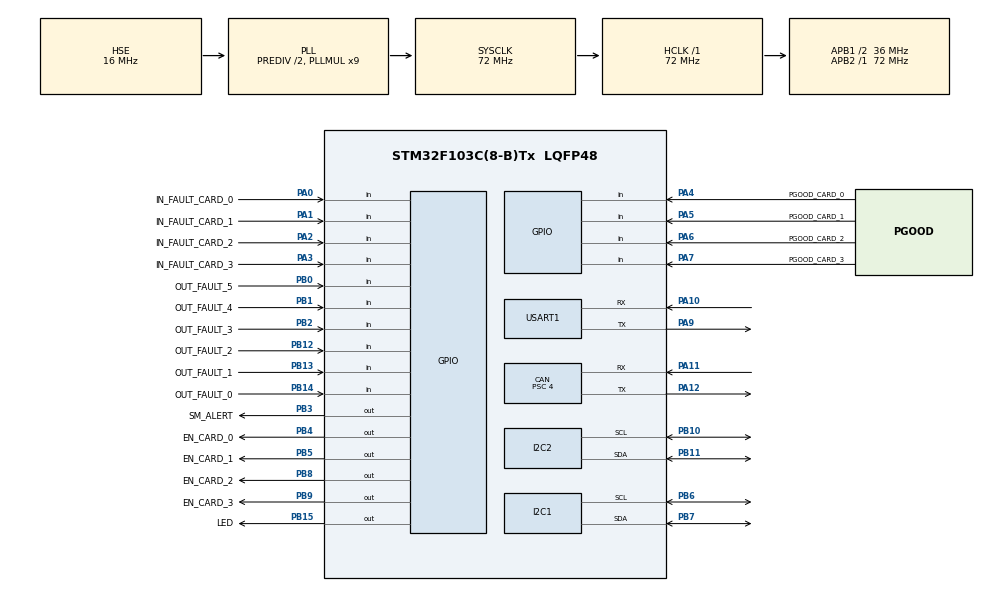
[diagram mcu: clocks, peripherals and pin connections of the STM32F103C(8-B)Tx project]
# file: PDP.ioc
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CAN.BS1=CAN_BS1_15TQ
CAN.BS2=CAN_BS2_2TQ
CAN.CalculateBaudRate=500000
CAN.CalculateTimeBit=2000
CAN.CalculateTimeQuantum=111.11111111111111
CAN.NART=ENABLE
CAN.Prescaler=4
CAN.SJW=CAN_SJW_2TQ
FREERTOS.Tasks01=defaultTask,24,128,StartDefaultTask,Default,NULL,Dynamic,NULL,NULL
FREERTOS.configUSE_NEWLIB_REENTRANT=1
Mcu.Family=STM32F1
Mcu.Name=STM32F103C(8-B)Tx
Mcu.Package=LQFP48
NVIC.PriorityGroup=NVIC_PRIORITYGROUP_4
NVIC.TIM2_IRQn=true\:15\:0\:false\:false\:true\:false\:false\:true\:true
NVIC.TimeBase=TIM2_IRQn
NVIC.TimeBaseIP=TIM2
NVIC.USB_HP_CAN1_TX_IRQn=true\:5\:0\:false\:false\:true\:true\:true\:true\:true
NVIC.USB_LP_CAN1_RX0_IRQn=true\:5\:0\:false\:false\:true\:true\:true\:true\:true
PA0-WKUP.GPIO_Label=IN_FAULT_CARD_0
PA0-WKUP.Signal=GPIO_Input
PA1.GPIO_Label=IN_FAULT_CARD_1
PA1.Signal=GPIO_Input
PA10.Mode=Asynchronous
PA10.Signal=USART1_RX
PA11.Mode=CAN_Activate
PA11.Signal=CAN_RX
PA12.Mode=CAN_Activate
PA12.Signal=CAN_TX
PA13.Mode=Serial_Wire
PA13.Signal=SYS_JTMS-SWDIO
PA14.Mode=Serial_Wire
PA14.Signal=SYS_JTCK-SWCLK
PA2.GPIO_Label=IN_FAULT_CARD_2
PA2.Signal=GPIO_Input
PA3.GPIO_Label=IN_FAULT_CARD_3
PA3.Signal=GPIO_Input
PA4.GPIO_Label=PGOOD_CARD_0
PA4.Signal=GPIO_Input
PA5.GPIO_Label=PGOOD_CARD_1
PA5.Signal=GPIO_Input
PA6.GPIO_Label=PGOOD_CARD_2
PA6.Signal=GPIO_Input
PA7.GPIO_Label=PGOOD_CARD_3
PA7.Signal=GPIO_Input
PA9.Mode=Asynchronous
PA9.Signal=USART1_TX
PB0.GPIO_Label=OUT_FAULT_5
PB0.Signal=GPIO_Input
PB1.GPIO_Label=OUT_FAULT_4
PB1.Signal=GPIO_Input
PB10.Mode=I2C
PB10.Signal=I2C2_SCL
PB11.Mode=I2C
PB11.Signal=I2C2_SDA
PB12.GPIO_Label=OUT_FAULT_2
PB12.Signal=GPIO_Input
PB13.GPIO_Label=OUT_FAULT_1
PB13.Signal=GPIO_Input
PB14.GPIO_Label=OUT_FAULT_0
PB14.Signal=GPIO_Input
PB15.GPIO_Label=LED
PB15.Signal=GPIO_Output
PB2.GPIO_Label=OUT_FAULT_3
PB2.Signal=GPIO_Input
PB3.GPIO_Label=SM_ALERT
PB3.Signal=GPIO_Output
PB4.GPIO_Label=EN_CARD_0
PB4.Signal=GPIO_Output
PB5.GPIO_Label=EN_CARD_1
PB5.Signal=GPIO_Output
PB6.Mode=I2C
PB6.Signal=I2C1_SCL
PB7.Mode=I2C
PB7.Signal=I2C1_SDA
PB8.GPIO_Label=EN_CARD_2
PB8.Signal=GPIO_Output
PB9.GPIO_Label=EN_CARD_3
PB9.Signal=GPIO_Output
PD0-OSC_IN.Mode=HSE-External-Oscillator
PD0-OSC_IN.Signal=RCC_OSC_IN
PD1-OSC_OUT.Mode=HSE-External-Oscillator
PD1-OSC_OUT.Signal=RCC_OSC_OUT
ProjectManager.HeapSize=0x200
ProjectManager.StackSize=0x400
ProjectManager.TargetToolchain=STM32CubeIDE
RCC.AHBFreq_Value=72000000
RCC.APB1CLKDivider=RCC_HCLK_DIV2
RCC.APB1Freq_Value=36000000
RCC.APB1TimFreq_Value=72000000
RCC.APB2Freq_Value=72000000
RCC.APB2TimFreq_Value=72000000
RCC.HCLKFreq_Value=72000000
RCC.HSEDivPLL=RCC_HSE_PREDIV_DIV2
RCC.HSE_VALUE=16000000
RCC.PLLMUL=RCC_PLL_MUL9
RCC.PLLSourceVirtual=RCC_PLLSOURCE_HSE
RCC.SYSCLKFreq_VALUE=72000000
RCC.SYSCLKSource=RCC_SYSCLKSOURCE_PLLCLK
RCC.USBFreq_Value=72000000
USART1.VirtualMode=VM_ASYNC
VP_FREERTOS_VS_CMSIS_V2.Mode=CMSIS_V2
VP_SYS_VS_tim2.Mode=TIM2
board=custom

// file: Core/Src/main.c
/* USER CODE BEGIN Header */
/**
 ******************************************************************************
 * @file           : main.c
 * @brief          : Main program body
 ******************************************************************************
 * @attention
 *
 * Copyright (c) 2024 STMicroelectronics.
 * All rights reserved.
 *
 * This software is licensed under terms that can be found in the LICENSE file
 * in the root directory of this software component.
 * If no LICENSE file comes with this software, it is provided AS-IS.
 *
 ******************************************************************************
 */
/* USER CODE END Header */
#include "main.h"
#include "cmsis_os.h"
#include "can.h"
#include "i2c.h"
#include "usart.h"
#include "gpio.h"

/* USER CODE BEGIN Includes */

#include "at24c04c.h"
#include "queue.h"
#include "enc_dec_utils.h"
#include "ina238.h"
#include "tca.h"
#include "tmp.h"
#include "viper_mcp3221.h"

/* USER CODE END Includes */

/* USER CODE BEGIN PD */
#define VIPER_PARAMS_EEPROM_PAGE 0

/* USER CODE END PD */

/* USER CODE BEGIN PV */

VIPER_STATE_TypeDef viper_state;
VIPER_PARAMS_TypeDef viper_params;

uint8_t ESTOP = 0;
uint8_t FREEZE = 0;

uint8_t read_complete = 0;
uint8_t send_complete = 0;

/* USER CODE END PV */

void SystemClock_Config(void);
void MX_FREERTOS_Init(void);

int main(void)
{

  /* USER CODE BEGIN 1 */

	// ##############
	// todo: SET DEFAULT VIPER PARAMS HERE
	viper_params.VIPER_ID = 0x01;
	viper_params.HEALTH_INTERVAL = 1000; //every second
	viper_params.CARD_INTERVAL = 1000; // may need to tune this

	viper_state.STATE = VIPER_STATE_ACTIVE;

	// ###############

  /* USER CODE END 1 */

  /* MCU Configuration--------------------------------------------------------*/

  /* Reset of all peripherals, Initializes the Flash interface and the Systick. */
  HAL_Init();

  /* Configure the system clock */
  SystemClock_Config();

  /* Initialize all configured peripherals */
  MX_GPIO_Init();
  MX_CAN_Init();
  MX_I2C1_Init();
  MX_I2C2_Init();
  MX_USART1_UART_Init();
  /* USER CODE BEGIN 2 */

	// ##############
	// SET DRIVER INITIALIZATIONS HERE

	MX_AT24C04C_1_Init();
	MX_TMP_1075_Init();
	MX_TMP_100_Init();
	MX_MCP_3221_Init();
	MX_INA_238_Init();
	MX_TCA_Init();

	// ###############
	// MAIN INIT and BROADCAST HEALTH MESSAGE
	VIPER_Card_Init(&viper_state, &viper_params);
	MX_CAN_Broadcast_Health_Message(&viper_can, &viper_state);
	// ###############

	TCA9544A_SelectChannel(&tca, VIPER_CARD_0);

	INA_238_WriteConfig(&ina238_low_power_a);
    INA_238_WriteConfig(&ina238_low_power_b);

	TMP_1075_SetHighLimit(&h_tmp_1075);
    TMP_1075_SetLowLimit(&h_tmp_1075);
    TMP_1075_SetConfRegisters(&h_tmp_1075);

	TMP_100_SetHighLimit(&h_tmp_100_a);
    TMP_100_SetLowLimit(&h_tmp_100_a);
    TMP_100_SetConfRegisters(&h_tmp_100_a);

    TMP_100_SetHighLimit(&h_tmp_100_b);
    TMP_100_SetLowLimit(&h_tmp_100_b);
    TMP_100_SetConfRegisters(&h_tmp_100_b);

	TCA9544A_SelectChannel(&tca, VIPER_CARD_1);

	INA_238_WriteConfig(&ina238_high_power);

	TMP_1075_SetHighLimit(&h_tmp_1075);
    TMP_1075_SetLowLimit(&h_tmp_1075);
    TMP_1075_SetConfRegisters(&h_tmp_1075);

	TMP_100_SetHighLimit(&h_tmp_100_a);
    TMP_100_SetLowLimit(&h_tmp_100_a);
    TMP_100_SetConfRegisters(&h_tmp_100_a);

    TMP_100_SetHighLimit(&h_tmp_100_b);
    TMP_100_SetLowLimit(&h_tmp_100_b);
    TMP_100_SetConfRegisters(&h_tmp_100_b);

	TCA9544A_SelectChannel(&tca, VIPER_CARD_2);

	INA_238_WriteConfig(&ina238_high_power);

	TMP_1075_SetHighLimit(&h_tmp_1075);
    TMP_1075_SetLowLimit(&h_tmp_1075);
    TMP_1075_SetConfRegisters(&h_tmp_1075);

	TMP_100_SetHighLimit(&h_tmp_100_a);
    TMP_100_SetLowLimit(&h_tmp_100_a);
    TMP_100_SetConfRegisters(&h_tmp_100_a);

//    TMP_100_SetHighLimit(&h_tmp_100_b);
//    TMP_100_SetLowLimit(&h_tmp_100_b);
//    TMP_100_SetConfRegisters(&h_tmp_100_b);

	//NO CARD 3 at the moment!
	// TCA9544A_SelectChannel(&tca, VIPER_CARD_3);

	// INA_238_WriteConfig(&ina238_low_power_a);
    // INA_238_WriteConfig(&ina238_low_power_b);

	// TMP_1075_SetHighLimit(&h_tmp_1075);
    // TMP_1075_SetLowLimit(&h_tmp_1075);
    // TMP_1075_SetConfRegisters(&h_tmp_1075);

	// TMP_100_SetHighLimit(&h_tmp_100_a);
    // TMP_100_SetLowLimit(&h_tmp_100_a);
    // TMP_100_SetConfRegisters(&h_tmp_100_a);

    // TMP_100_SetHighLimit(&h_tmp_100_b);
    // TMP_100_SetLowLimit(&h_tmp_100_b);
    // TMP_100_SetConfRegisters(&h_tmp_100_b);

	TCA9544A_SelectChannel(&tca, VIPER_CARD_0);

	// osKernalStart() hands over execution to the RTOS kernel, so everything after that line is not executed
	// Comment the line to run the original VIPER code.

  /* USER CODE END 2 */

  /* Init scheduler */
  osKernelInitialize();

  /* Call init function for freertos objects (in cmsis_os2.c) */
  MX_FREERTOS_Init();

  /* Start scheduler */
  osKernelStart();

  /* We should never get here as control is now taken by the scheduler */

  /* Infinite loop */
  /* USER CODE BEGIN WHILE */

	// ESTOP --> DISABLE --> FREEZE -> ACTIVE

	while (1) {

		VIPER_Card_Check(&viper_state);

		if (!queue_empty(&can_message_queue_global)) {
			VIPER_CAN_Message_TypeDef *new_message =
					(VIPER_CAN_Message_TypeDef*) queue_front(
							&can_message_queue_global);

			switch ((int) (new_message->command_id)) {
			case ESTOP_MESSAGE: {
				ESTOP = 1;
				break;
			}
			case DISABLE_MESSAGE: {
				viper_state.STATE = VIPER_STATE_INACTIVE;
				break;
			}
			case ENABLE_MESSAGE: {
				viper_state.STATE = VIPER_STATE_ACTIVE;
				break;
			}
			case HEALTH_STATUS_PING: {
				MX_CAN_Broadcast_Health_Message(&viper_can, &viper_state);
				break;
			}
			default: {
				break;
			}
			}

			free(new_message->data);
			queue_dequeue(&can_message_queue_global);
		}

		//Only check viper queue after. This allows global messages to be addressed immediately
		else if (!queue_empty(&can_message_queue_viper)) {
			VIPER_CAN_Message_TypeDef *new_message =
					(VIPER_CAN_Message_TypeDef*) queue_front(
							&can_message_queue_viper);

			switch ((int) (new_message->command_id)) {
			case DISABLE_CARD: {
				switch (new_message->card_id){
				case VIPER_CARD_0: {
					viper_state.CARD_0.ENABLE = 0;
					break;
				}
				case VIPER_CARD_1: {
					viper_state.CARD_1.ENABLE = 0;
					break;
				}
				case VIPER_CARD_2: {
					viper_state.CARD_2.ENABLE = 0;
					break;
				}
				case VIPER_CARD_3: {
					viper_state.CARD_3.ENABLE = 0;
					break;
				}
				default:
					break;
				}
				break;
			}
			case DISABLE_ALL_CARDS: {
				viper_state.CARD_0.ENABLE = 0;
				viper_state.CARD_1.ENABLE = 0;
				viper_state.CARD_2.ENABLE = 0;
				viper_state.CARD_3.ENABLE = 0;
				break;
			}
			case ENABLE_CARD: {
				switch (new_message->card_id){
				case VIPER_CARD_0: {
					viper_state.CARD_0.ENABLE = 1;
					break;
				}
				case VIPER_CARD_1: {
					viper_state.CARD_1.ENABLE = 1;
					break;
				}
				case VIPER_CARD_2: {
					viper_state.CARD_2.ENABLE = 1;
					break;
				}
				case VIPER_CARD_3: {
					viper_state.CARD_3.ENABLE = 1;
					break;
				}
				default:
					break;
				}
				break;
			}
			case ENABLE_ALL_CARDS: {
				viper_state.CARD_0.ENABLE = 1;
				viper_state.CARD_1.ENABLE = 1;
				viper_state.CARD_2.ENABLE = 1;
				viper_state.CARD_3.ENABLE = 1;
				break;
			}
			case GET_CARD_DATA: {
				MX_CAN_Broadcast_Card_Data(&viper_can, &viper_state, new_message->card_id);
				break;
			}
			case GET_ALL_CARD_DATA: {
				MX_CAN_Broadcast_Card_Data(&viper_can, &viper_state, VIPER_CARD_0);
				MX_CAN_Broadcast_Card_Data(&viper_can, &viper_state, VIPER_CARD_1);
				MX_CAN_Broadcast_Card_Data(&viper_can, &viper_state, VIPER_CARD_2);
				MX_CAN_Broadcast_Card_Data(&viper_can, &viper_state, VIPER_CARD_3);
				break;
			}
			case SET_MUX_VALUE: {
				TCA9544A_SelectChannel(&tca, new_message->card_id);
				viper_state.CURRENT_CARD = new_message->card_id;
				break;
			}
			case SAVE_TO_EEPROM: {
				AT24C04C_WritePages(&at24c04c_1, (uint8_t*) &viper_params, sizeof(VIPER_PARAMS_TypeDef), VIPER_PARAMS_EEPROM_PAGE);
				break;
			}
			case SET_FREEZE: {
				FREEZE = 1;
				break;
			}
			case STOP_FREEZE: {
				FREEZE = 0;
				break;
			}
			// GETTERS / SETTERS
			case GET_HEALTH_INTERVAL: {
				MX_CAN_Broadcast_Uint32_Data(&viper_can, viper_params.HEALTH_INTERVAL, GET_HEALTH_INTERVAL, 0);
				break;
			}
			case SET_HEALTH_INTERVAL: {
				viper_params.HEALTH_INTERVAL = decode_uint32_big_endian(new_message->data);
				break;
			}
			case GET_CARD_INTERVAL: {
				MX_CAN_Broadcast_Uint32_Data(&viper_can, viper_params.CARD_INTERVAL, GET_CARD_INTERVAL, 0);
				break;
			}
			case SET_CARD_INTERVAL: {
				viper_params.CARD_INTERVAL = decode_uint32_big_endian(new_message->data);
				break;
			}
			default:
				break;
			}
			free(new_message->data);
			queue_dequeue(&can_message_queue_viper);
		}

		 VIPER_Card_Update_State(&viper_state);
		// VIPER_Card_Update_Params(&viper_state, &viper_params);

		if (ESTOP) {
			HAL_GPIO_WritePin(LED_GPIO_Port, LED_Pin, GPIO_PIN_SET);
			break;
		}

		// MAIN STATE MACHINE START
		switch (viper_state.STATE) {
		case VIPER_STATE_INACTIVE: {
			HAL_GPIO_WritePin(LED_GPIO_Port, LED_Pin, GPIO_PIN_SET);
			break;
		}
		case VIPER_STATE_ACTIVE: {
			HAL_GPIO_WritePin(LED_GPIO_Port, LED_Pin, GPIO_PIN_RESET);

			if ((viper_params.CARD_INTERVAL != 0) && (HAL_GetTick() % viper_params.CARD_INTERVAL == 0)) {

				if (!FREEZE) {
					if (viper_state.CURRENT_CARD == VIPER_CARD_3) {
						viper_state.CURRENT_CARD = VIPER_CARD_0;
					} else {
						viper_state.CURRENT_CARD++;
					}
				}

				read_complete = 0;
				send_complete = 0;
			}

			if (!read_complete)
			{
				if((viper_state.CURRENT_CARD == VIPER_CARD_0 && viper_state.CARD_0.ENABLE)
				|| (viper_state.CURRENT_CARD == VIPER_CARD_1 && viper_state.CARD_1.ENABLE)
				|| (viper_state.CURRENT_CARD == VIPER_CARD_2 && viper_state.CARD_2.ENABLE)
				|| (viper_state.CURRENT_CARD == VIPER_CARD_3 && viper_state.CARD_3.ENABLE))
				{
					VIPER_Card_Read(&viper_state, viper_state.CURRENT_CARD);
				}
				read_complete = 1;
			}
			break;
		}
		default:
			break;
		}

		// SCHEDULED TASKS
		// if ((viper_params.CARD_INTERVAL != 0) && (HAL_GetTick() % viper_params.CARD_INTERVAL == 0)) {
		// 	MX_CAN_Broadcast_Card_Data(&viper_can, &viper_state, viper_state.CURRENT_CARD);
		// }

		if (read_complete && !send_complete)
		{
			MX_CAN_Broadcast_Card_Data(&viper_can, &viper_state, viper_state.CURRENT_CARD);
			send_complete = 1;
		}

		//Poll and Publish CAN

		MX_CAN_PollToEmptyQueue();

//		 if ((viper_params.HEALTH_INTERVAL != 0)
//		 		&& (HAL_GetTick() % viper_params.HEALTH_INTERVAL == 0)) {
//		 	MX_CAN_Broadcast_Health_Message(&viper_can, &viper_state);
//		 }

		// MAIN STATE MACHINE END

    /* USER CODE END WHILE */

	}
}

void SystemClock_Config(void)
{
  RCC_OscInitTypeDef RCC_OscInitStruct = {0};
  RCC_ClkInitTypeDef RCC_ClkInitStruct = {0};

  /** Initializes the RCC Oscillators according to the specified parameters
  * in the RCC_OscInitTypeDef structure.
  */
  RCC_OscInitStruct.OscillatorType = RCC_OSCILLATORTYPE_HSE;
  RCC_OscInitStruct.HSEState = RCC_HSE_ON;
  RCC_OscInitStruct.HSEPredivValue = RCC_HSE_PREDIV_DIV2;
  RCC_OscInitStruct.HSIState = RCC_HSI_ON;
  RCC_OscInitStruct.PLL.PLLState = RCC_PLL_ON;
  RCC_OscInitStruct.PLL.PLLSource = RCC_PLLSOURCE_HSE;
  RCC_OscInitStruct.PLL.PLLMUL = RCC_PLL_MUL9;
  if (HAL_RCC_OscConfig(&RCC_OscInitStruct) != HAL_OK)
  {
    Error_Handler();
  }

  /** Initializes the CPU, AHB and APB buses clocks
  */
  RCC_ClkInitStruct.ClockType = RCC_CLOCKTYPE_HCLK|RCC_CLOCKTYPE_SYSCLK
                              |RCC_CLOCKTYPE_PCLK1|RCC_CLOCKTYPE_PCLK2;
  RCC_ClkInitStruct.SYSCLKSource = RCC_SYSCLKSOURCE_PLLCLK;
  RCC_ClkInitStruct.AHBCLKDivider = RCC_SYSCLK_DIV1;
  RCC_ClkInitStruct.APB1CLKDivider = RCC_HCLK_DIV2;
  RCC_ClkInitStruct.APB2CLKDivider = RCC_HCLK_DIV1;

  if (HAL_RCC_ClockConfig(&RCC_ClkInitStruct, FLASH_LATENCY_2) != HAL_OK)
  {
    Error_Handler();
  }
}

/* USER CODE BEGIN 4 */

void VIPER_Card_Init(VIPER_STATE_TypeDef *viper_state, VIPER_PARAMS_TypeDef *viper_params) {
	// Step 1: initialize viper_params (from EEPROM)
	AT24C04C_ReadPages(&at24c04c_1, (uint8_t*) viper_params, sizeof(VIPER_PARAMS_TypeDef), VIPER_PARAMS_EEPROM_PAGE);

	// Step 2: set any relevant fields in viper_state from viper_params
//	viper_state->CARD_0.ENABLE = viper_params->CARD_0.ENABLE;
	viper_state->CARD_0.ENABLE = 1; //Card zero is the jetson - ignore any eeprom for it, as it must always be on

	viper_state->CARD_1.ENABLE = viper_params->CARD_1.ENABLE;
	viper_state->CARD_2.ENABLE = viper_params->CARD_2.ENABLE;
	viper_state->CARD_3.ENABLE = viper_params->CARD_3.ENABLE;

	// Step 3: Setup VIPER
	VIPER_Card_Update_State(viper_state);
}

void VIPER_Card_Check(VIPER_STATE_TypeDef *viper_state) {
	uint8_t c0 = viper_state->CARD_0.ENABLE;
	uint8_t c1 = viper_state->CARD_1.ENABLE;
	uint8_t c2 = viper_state->CARD_2.ENABLE;
	uint8_t c3 = viper_state->CARD_3.ENABLE;

	uint8_t pgood[4] = {0};
	uint8_t infault[4] = {0};
	uint8_t outfault[6] = {0};

	if (c0) {
		pgood[0] = (uint8_t) HAL_GPIO_ReadPin(PGOOD_CARD_0_GPIO_Port,
					PGOOD_CARD_0_Pin); // CARD 0
		infault[0] = (uint8_t) HAL_GPIO_ReadPin(IN_FAULT_CARD_0_GPIO_Port,
					IN_FAULT_CARD_0_Pin); // CARD 0
		outfault[0] = (uint8_t) HAL_GPIO_ReadPin(OUT_FAULT_0_GPIO_Port,
					OUT_FAULT_0_Pin); // CARD 0 : LP
		outfault[1] = (uint8_t) HAL_GPIO_ReadPin(OUT_FAULT_1_GPIO_Port,
					OUT_FAULT_1_Pin); // CARD 0 : LP
		viper_state->CARD_0.CONNECTED = pgood[0];
		viper_state->CARD_0.INPUT_FAULT = !infault[0];
		viper_state->CARD_0.OUTPUT_FAULT_A = outfault[0];
		viper_state->CARD_0.OUTPUT_FAULT_B = outfault[1];
	}

	if (c1) {
		pgood[1] = (uint8_t) HAL_GPIO_ReadPin(PGOOD_CARD_1_GPIO_Port,
					PGOOD_CARD_1_Pin); // CARD 1
		infault[1] = (uint8_t) HAL_GPIO_ReadPin(IN_FAULT_CARD_1_GPIO_Port,
					IN_FAULT_CARD_1_Pin); // CARD 1
		outfault[2] = (uint8_t) HAL_GPIO_ReadPin(OUT_FAULT_2_GPIO_Port,
					OUT_FAULT_2_Pin); // CARD 1 : HP
		viper_state->CARD_1.CONNECTED = pgood[1];
		viper_state->CARD_1.INPUT_FAULT = !infault[1];
		viper_state->CARD_1.OUTPUT_FAULT_A = outfault[2];
	}

	if (c2) {
		pgood[2] = (uint8_t) HAL_GPIO_ReadPin(PGOOD_CARD_2_GPIO_Port,
					PGOOD_CARD_2_Pin); // CARD 2
		infault[2] = (uint8_t) HAL_GPIO_ReadPin(IN_FAULT_CARD_2_GPIO_Port,
					IN_FAULT_CARD_2_Pin); // CARD 2
		outfault[3] = (uint8_t) HAL_GPIO_ReadPin(OUT_FAULT_3_GPIO_Port,
					OUT_FAULT_3_Pin); // CARD 2 : HP
		viper_state->CARD_2.CONNECTED = pgood[2];
		viper_state->CARD_2.INPUT_FAULT = !infault[2];
		viper_state->CARD_2.OUTPUT_FAULT_A = outfault[3];
	}

	if (c3) {
		pgood[3] = (uint8_t) HAL_GPIO_ReadPin(PGOOD_CARD_3_GPIO_Port,
					PGOOD_CARD_3_Pin); // CARD 3
		infault[3] = (uint8_t) HAL_GPIO_ReadPin(IN_FAULT_CARD_3_GPIO_Port,
					IN_FAULT_CARD_3_Pin); // CARD 3
		outfault[4] = (uint8_t) HAL_GPIO_ReadPin(OUT_FAULT_4_GPIO_Port,
					OUT_FAULT_4_Pin); // CARD 3 : LP
		outfault[5] = (uint8_t) HAL_GPIO_ReadPin(OUT_FAULT_5_GPIO_Port,
						OUT_FAULT_5_Pin); // CARD 3 : LP
		viper_state->CARD_3.CONNECTED = pgood[3];
		viper_state->CARD_3.INPUT_FAULT = !infault[3];
		viper_state->CARD_3.OUTPUT_FAULT_A = outfault[4];
		viper_state->CARD_3.OUTPUT_FAULT_B = outfault[5];
	}

	if (!viper_state->CARD_0.CONNECTED) {
		viper_state->CARD_0.STATUS = VIPER_CARD_DISCONNECTED;
	} else if (viper_state->CARD_0.INPUT_FAULT || viper_state->CARD_0.OUTPUT_FAULT_A || viper_state->CARD_0.OUTPUT_FAULT_B) {
		viper_state->CARD_0.STATUS = VIPER_CARD_FAULT;
	} else {
		viper_state->CARD_0.STATUS = VIPER_CARD_OK;
	}

	if (!viper_state->CARD_1.CONNECTED) {
		viper_state->CARD_1.STATUS = VIPER_CARD_DISCONNECTED;
	} else if (viper_state->CARD_1.INPUT_FAULT || viper_state->CARD_1.OUTPUT_FAULT_A) {
		viper_state->CARD_1.STATUS = VIPER_CARD_FAULT;
	} else {
		viper_state->CARD_1.STATUS = VIPER_CARD_OK;
	}

	if (!viper_state->CARD_2.CONNECTED) {
		viper_state->CARD_2.STATUS = VIPER_CARD_DISCONNECTED;
	} else if (viper_state->CARD_2.INPUT_FAULT || viper_state->CARD_2.OUTPUT_FAULT_A) {
		viper_state->CARD_2.STATUS = VIPER_CARD_FAULT;
	} else {
		viper_state->CARD_2.STATUS = VIPER_CARD_OK;
	}

	if (!viper_state->CARD_3.CONNECTED) {
		viper_state->CARD_3.STATUS = VIPER_CARD_DISCONNECTED;
	} else if (viper_state->CARD_3.INPUT_FAULT || viper_state->CARD_3.OUTPUT_FAULT_A || viper_state->CARD_3.OUTPUT_FAULT_B) {
		viper_state->CARD_3.STATUS = VIPER_CARD_FAULT;
	} else {
		viper_state->CARD_3.STATUS = VIPER_CARD_OK;
	}

//	if (c0) {
//		if (viper_state->CARD_0.STATUS != VIPER_CARD_OK) {
//			viper_state->CARD_0.ENABLE = 0;
//		}
//	}
//
//	if (c1) {
//		if (viper_state->CARD_1.STATUS != VIPER_CARD_OK) {
//			viper_state->CARD_1.ENABLE = 0;
//		}
//	}
//
//	if (c2) {
//		if (viper_state->CARD_2.STATUS != VIPER_CARD_OK) {
//			viper_state->CARD_2.ENABLE = 0;
//		}
//	}
//
//	if (c3) {
//		if (viper_state->CARD_3.STATUS != VIPER_CARD_OK) {
//			viper_state->CARD_3.ENABLE = 0;
//		}
//	}
}

void VIPER_Card_Update_Params(VIPER_STATE_TypeDef *viper_state, VIPER_PARAMS_TypeDef *viper_params) {
	// STEP 1: Update relevant fields in viper_params (stored in EEPROM) from viper_state
	// i.e. data which is both DYNAMIC and PERSISTENT
	uint8_t changed_flag = VIPER_Card_Params_Flag(viper_state, viper_params);

	// STEP 2: Update EEPROM from viper_params
	if (changed_flag)
	{
		AT24C04C_WritePages(&at24c04c_1, (uint8_t*) viper_params, sizeof(VIPER_PARAMS_TypeDef), VIPER_PARAMS_EEPROM_PAGE);
	}
}

void VIPER_Card_Update_State(VIPER_STATE_TypeDef *viper_state) {
	// Any updates that viper_state should do after being changed
	if (viper_state->CARD_0.ENABLE)
		HAL_GPIO_WritePin(EN_CARD_0_GPIO_Port, EN_CARD_0_Pin, GPIO_PIN_SET);
	else
		HAL_GPIO_WritePin(EN_CARD_0_GPIO_Port, EN_CARD_0_Pin, GPIO_PIN_RESET);

	if (viper_state->CARD_1.ENABLE)
		HAL_GPIO_WritePin(EN_CARD_1_GPIO_Port, EN_CARD_1_Pin, GPIO_PIN_SET);
	else
		HAL_GPIO_WritePin(EN_CARD_1_GPIO_Port, EN_CARD_1_Pin, GPIO_PIN_RESET);

	if (viper_state->CARD_2.ENABLE)
		HAL_GPIO_WritePin(EN_CARD_2_GPIO_Port, EN_CARD_2_Pin, GPIO_PIN_SET);
	else
		HAL_GPIO_WritePin(EN_CARD_2_GPIO_Port, EN_CARD_2_Pin, GPIO_PIN_RESET);

	if (viper_state->CARD_3.ENABLE)
		HAL_GPIO_WritePin(EN_CARD_3_GPIO_Port, EN_CARD_3_Pin, GPIO_PIN_SET);
	else
		HAL_GPIO_WritePin(EN_CARD_3_GPIO_Port, EN_CARD_3_Pin, GPIO_PIN_RESET);
}

void VIPER_Card_Read(VIPER_STATE_TypeDef* viper_state, VIPER_CARD_ID_TypeDef cardx) {
	// 1. Select the relevant card with the mux

	TCA9544A_SelectChannel(&tca, cardx);

	// 2. Read the temperature

	TMP_1075_ReadTemp(&h_tmp_1075);
	TMP_100_ReadTemp(&h_tmp_100_a);

	if (cardx != VIPER_CARD_2)
	{
		TMP_100_ReadTemp(&h_tmp_100_b);
	}
	// 2. Read the rest

	if (cardx == VIPER_CARD_0 || cardx == VIPER_CARD_3) {
		INA_238_ReadCurrent(&ina238_low_power_a);
		INA_238_ReadCurrent(&ina238_low_power_b);

		INA_238_ReadVoltage(&ina238_low_power_a);
		INA_238_ReadVoltage(&ina238_low_power_b);

		// INA_238_ReadPower(&ina238_low_power_a);
		// INA_238_ReadPower(&ina238_low_power_b);

		// INA_238_ReadDiagnostic(&ina238_low_power_a);
		// INA_238_ReadDiagnostic(&ina238_low_power_b);

		MCP3221_ReadCurrent(&input_current_low_card);
	} else {

		INA_238_ReadCurrent(&ina238_high_power);
		INA_238_ReadVoltage(&ina238_high_power);
		//INA_238_ReadPower(&ina238_high_power);
		// INA_238_ReadDiagnostic(&ina238_high_power);

		MCP3221_ReadCurrent(&input_current_high_card);
	}

	//MCP3221_ReadVoltage(&input_voltage);

	// Step 3: Writing everything

	switch (cardx) {
		case VIPER_CARD_0: {

			viper_state->CARD_0.TEMPERATURE_BACKPLANE = h_tmp_1075.temp;
			viper_state->CARD_0.TEMPERATURE_CARD_A = h_tmp_100_a.temp;
			viper_state->CARD_0.TEMPERATURE_CARD_B = h_tmp_100_b.temp;
			viper_state->CARD_0.INPUT_CURRENT = input_current_low_card.current/1000;
			viper_state->CARD_0.OUTPUT_CURRENT_A = ina238_low_power_a.current;
			viper_state->CARD_0.OUTPUT_CURRENT_B = ina238_low_power_b.current;
			viper_state->CARD_0.OUTPUT_VOLTAGE_A = ina238_low_power_a.voltage;
			viper_state->CARD_0.OUTPUT_VOLTAGE_B = ina238_low_power_b.voltage;
			// viper_state->CARD_0.OUTPUT_POWER_A = ina238_low_power_a.power;
			// viper_state->CARD_0.OUTPUT_POWER_B = ina238_low_power_b.power;
			// viper_state->CARD_0.OUTPUT_DIAGNOSTIC_A = ina238_low_power_a.diagnostic;
			// viper_state->CARD_0.OUTPUT_DIAGNOSTIC_B = ina238_low_power_b.diagnostic;
			break;
		}
		case VIPER_CARD_1: {

			viper_state->CARD_1.TEMPERATURE_BACKPLANE = h_tmp_1075.temp;
			viper_state->CARD_1.TEMPERATURE_CARD_A = h_tmp_100_a.temp;
			viper_state->CARD_1.TEMPERATURE_CARD_B = h_tmp_100_b.temp;
			viper_state->CARD_1.INPUT_CURRENT = input_current_high_card.current/1000;
			viper_state->CARD_1.OUTPUT_CURRENT_A = ina238_high_power.current;
			viper_state->CARD_1.OUTPUT_VOLTAGE_A = ina238_high_power.voltage;
			// viper_state->CARD_1.OUTPUT_POWER_A = ina238_high_power.power;
			// viper_state->CARD_1.OUTPUT_DIAGNOSTIC_A = ina238_high_power.diagnostic;
			break;

		}
		case VIPER_CARD_2: {

			viper_state->CARD_2.TEMPERATURE_BACKPLANE = h_tmp_1075.temp;
			viper_state->CARD_2.TEMPERATURE_CARD_A = h_tmp_100_a.temp;
			viper_state->CARD_2.TEMPERATURE_CARD_B = h_tmp_100_b.temp;
			viper_state->CARD_2.INPUT_CURRENT = input_current_high_card.current/1000;
			viper_state->CARD_2.OUTPUT_CURRENT_A = ina238_high_power.current;
			viper_state->CARD_2.OUTPUT_VOLTAGE_A = ina238_high_power.voltage;
			// viper_state->CARD_2.OUTPUT_POWER_A = ina238_high_power.power;
			// viper_state->CARD_2.OUTPUT_DIAGNOSTIC_A = ina238_high_power.diagnostic;
			break;
		}

		case VIPER_CARD_3:  {

			 viper_state->CARD_3.TEMPERATURE_BACKPLANE = h_tmp_1075.temp;
			viper_state->CARD_3.TEMPERATURE_CARD_A = h_tmp_100_a.temp;
			viper_state->CARD_3.TEMPERATURE_CARD_B = h_tmp_100_b.temp;
			 viper_state->CARD_3.INPUT_CURRENT = input_current_low_card.current/1000;
			viper_state->CARD_3.OUTPUT_CURRENT_A = ina238_low_power_a.current;
			viper_state->CARD_3.OUTPUT_CURRENT_B = ina238_low_power_b.current;
			viper_state->CARD_3.OUTPUT_VOLTAGE_A = ina238_low_power_a.voltage;
			viper_state->CARD_3.OUTPUT_VOLTAGE_B = ina238_low_power_b.voltage;
			// viper_state->CARD_3.OUTPUT_POWER_A = ina238_low_power_a.power;
			// viper_state->CARD_3.OUTPUT_POWER_B = ina238_low_power_b.power;
			// viper_state->CARD_3.OUTPUT_DIAGNOSTIC_A = ina238_low_power_a.diagnostic;
			// viper_state->CARD_3.OUTPUT_DIAGNOSTIC_B = ina238_low_power_b.diagnostic;
			break;
		}
		default: {
			break;
		}
	}
	// This is the exact same idea, where the low power cards will have two powers
}

uint8_t VIPER_Card_Params_Flag(VIPER_STATE_TypeDef* viper_state, VIPER_PARAMS_TypeDef *viper_params) {
	// Step 1: check which fields have changed

	uint8_t changed_flag = 0;

	if (viper_params->CARD_0.ENABLE != viper_state->CARD_0.ENABLE) {
		viper_params->CARD_0.ENABLE = viper_state->CARD_0.ENABLE;
		changed_flag = 1;
	}

	if (viper_params->CARD_1.ENABLE != viper_state->CARD_1.ENABLE) {
		viper_params->CARD_1.ENABLE = viper_state->CARD_1.ENABLE;
		changed_flag = 1;
	}

	if (viper_params->CARD_2.ENABLE != viper_state->CARD_2.ENABLE) {
		viper_params->CARD_2.ENABLE = viper_state->CARD_2.ENABLE;
		changed_flag = 1;
	}

	if (viper_params->CARD_3.ENABLE != viper_state->CARD_3.ENABLE) {
		viper_params->CARD_3.ENABLE = viper_state->CARD_3.ENABLE;
		changed_flag = 1;
	}

	return changed_flag;
}

/* USER CODE END 4 */

void HAL_TIM_PeriodElapsedCallback(TIM_HandleTypeDef *htim)
{
  if (htim->Instance == TIM2) {
    HAL_IncTick();
  }
}

void Error_Handler(void)
{
	__disable_irq();
	while (1) {
	}
}
